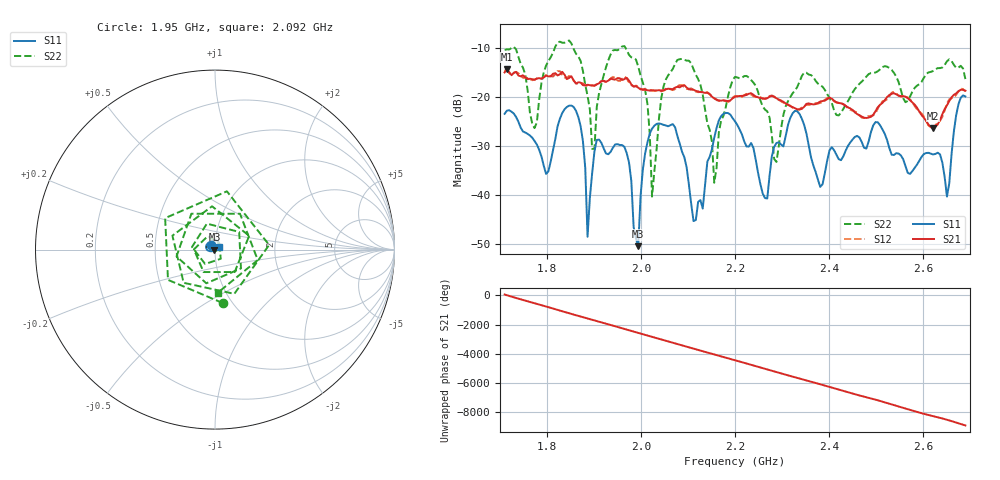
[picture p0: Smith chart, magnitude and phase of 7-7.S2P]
!Agilent Technologies,E5061B,MY49305579,A.02.22
!Date: Thu Aug 24 16:25:49 2017
!Data & Calibration Information:
!Freq	S11:SOLT2(ON)	S21:SOLT2(ON)	S12:SOLT2(ON)	S22:SOLT2(ON)
# Hz S dB R 50
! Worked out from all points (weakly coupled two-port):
!   201 points, 1.71 GHz to 2.69 GHz, reference 50 ohm
!   highest |S21| = -14.28 dB at 1.715 GHz (marker M1); lowest = -26.3 dB at 2.621 GHz (marker M2)
!   lowest |S11| = -50.5 dB at 1.994 GHz (marker M3), VSWR 1.01, Z = 49.7 - j0.0859 ohm
!   |S11| at or under -10 dB: start of sweep to end of sweep
!   |S22| runs from -40.3 to -8.4 dB; largest |S21 - S12| = 0.021
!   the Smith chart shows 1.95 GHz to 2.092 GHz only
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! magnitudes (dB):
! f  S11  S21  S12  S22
! 1.71 GHz  -23.4  -15.0  -14.4  -10.4
! 1.715 GHz  -22.8  -14.3  -14.6  -10.3
! 1.774 GHz  -29.0  -16.5  -16.4  -26.3
! 1.823 GHz  -26.0  -15.6  -14.7  -8.9
! 1.877 GHz  -29.0  -17.6  -17.2  -14.7
! 1.886 GHz  -48.5  -17.5  -17.7  -19.7
! 1.901 GHz  -31.1  -17.7  -17.7  -30.5
! 1.911 GHz  -28.7  -17.2  -17.1  -19.2
! 1.97 GHz  -31.5  -16.1  -16.2  -10.4
! 1.994 GHz  -50.5  -18.1  -17.8  -13.8
! 2.024 GHz  -26.5  -18.6  -18.7  -40.3
! 2.038 GHz  -25.4  -18.6  -18.8  -24.4
! 2.112 GHz  -45.3  -18.5  -18.5  -14.3
! 2.156 GHz  -28.3  -20.3  -20.3  -37.5
! 2.2 GHz  -25.0  -20.0  -19.8  -15.9
! 2.264 GHz  -40.6  -20.3  -20.4  -22.6
! 2.288 GHz  -29.4  -20.3  -20.3  -33.3
! 2.367 GHz  -34.0  -21.5  -21.3  -15.9
! 2.528 GHz  -30.4  -19.6  -19.8  -14.1
! 2.621 GHz  -31.7  -26.3  -26.2  -14.7
! 2.651 GHz  -40.3  -21.7  -21.4  -12.7
! 2.69 GHz  -19.9  -18.7  -18.8  -16.3
